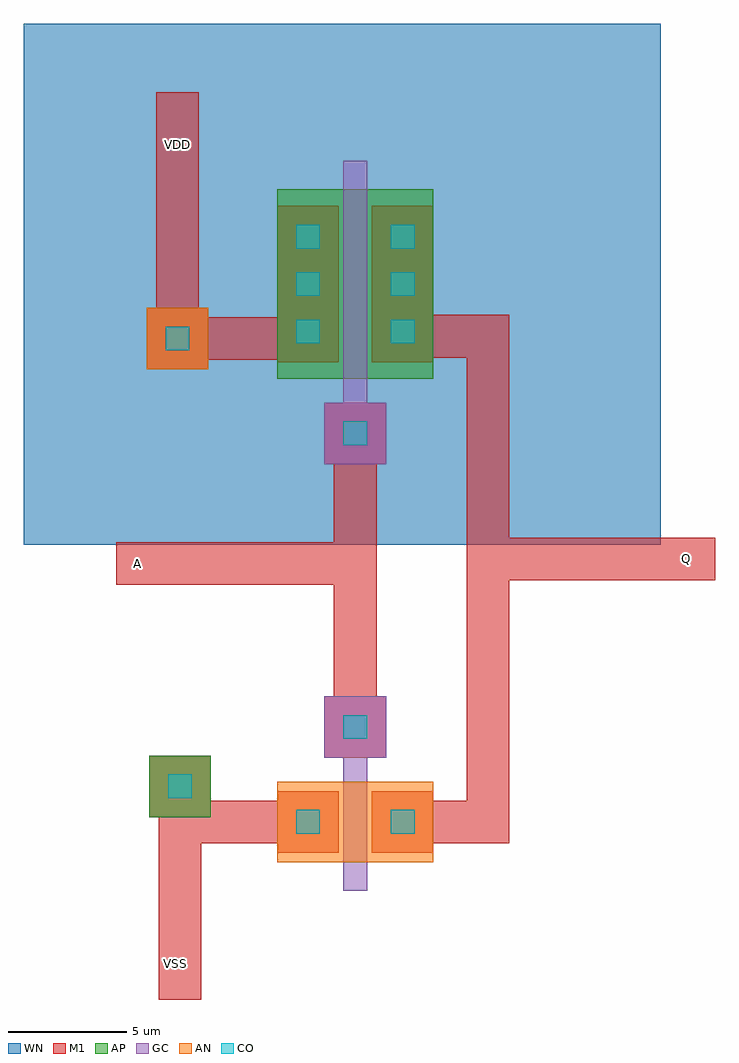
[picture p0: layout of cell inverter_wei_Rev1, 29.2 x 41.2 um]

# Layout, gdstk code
from math import pi, radians
import gdstk
lib = gdstk.Library(unit=1e-6, precision=1e-07)
def R(c, l, rs):  # rectangles x0, y0, x1, y1
    for r in rs: c.add(gdstk.rectangle(r[:2], r[2:], *l))
def A(c, l, x, y, w, h, nx, ny, dx, dy):  # array of equal rectangles
    R(c, l, [(x+i*dx, y+j*dy, x+i*dx+w, y+j*dy+h) for i in range(nx) for j in range(ny)])
AP = (3, 1)
AN = (3, 2)
GC = (8, 1)
CO = (11, 0)
M1 = (13, 0)
WN = (140, 0)

fet_p = lib.new_cell('fet_p')
R(fet_p, AP, [(-3.3,-4,3.3,4)])
A(fet_p, CO, -2.5, -2.5, 1, 1, 1, 3, 0, 2)
A(fet_p, CO, 1.5, -2.5, 1, 1, 1, 3, 0, 2)
R(fet_p, M1, [(-3.3,-3.3,-0.7,3.3), (0.7,-3.3,3.3,3.3)])
fet_p.add(gdstk.FlexPath([(0,-5.2),(0,5.2)], 1, ends="flush", simple_path=True, layer=8, datatype=1))  # GC

fet_n = lib.new_cell('fet_n')
R(fet_n, AN, [(-3.3,-1.7,3.3,1.7)])
R(fet_n, CO, [(-2.5,-0.5,-1.5,0.5), (1.5,-0.5,2.5,0.5)])
R(fet_n, M1, [(-3.3,-1.3,-0.7,1.3), (0.7,-1.3,3.3,1.3)])
fet_n.add(gdstk.FlexPath([(0,-2.9),(0,2.9)], 1, ends="flush", simple_path=True, layer=8, datatype=1))  # GC

cont_g = lib.new_cell('cont_g')
R(cont_g, GC, [(-1.3,-1.3,1.3,1.3)])
R(cont_g, CO, [(-0.5,-0.5,0.5,0.5)])
R(cont_g, M1, [(-1.3,-1.3,1.3,1.3)])

cont_n = lib.new_cell('cont_n')
R(cont_n, AN, [(-1.3,-1.3,1.3,1.3)])
R(cont_n, CO, [(-0.5,-0.5,0.5,0.5)])
R(cont_n, M1, [(-1.3,-1.3,1.3,1.3)])

cont_p = lib.new_cell('cont_p')
R(cont_p, AP, [(-1.3,-1.3,1.3,1.3)])
R(cont_p, CO, [(-0.5,-0.5,0.5,0.5)])
R(cont_p, M1, [(-1.3,-1.3,1.3,1.3)])

inverter_wei_rev1 = lib.new_cell('inverter_wei_Rev1')
R(inverter_wei_rev1, WN, [(-19,-2.8,7.9,19.2)])
inverter_wei_rev1.add(gdstk.FlexPath([(-3,-14.5),(0.6,-14.5),(0.6,6),(-3,6)], 1.8, ends="extended", simple_path=True, layer=13, datatype=0))  # M1
inverter_wei_rev1.add(gdstk.FlexPath([(-7,-14.5),(-12.4,-14.5),(-12.4,-21.1)], 1.8, ends="extended", simple_path=True, layer=13, datatype=0))  # M1
inverter_wei_rev1.add(gdstk.FlexPath([(0.6,-3.4),(9.3,-3.4)], 1.8, ends="extended", simple_path=True, layer=13, datatype=0))  # M1
inverter_wei_rev1.add(gdstk.FlexPath([(-5,2),(-5,-9)], 1.8, ends="extended", simple_path=True, layer=13, datatype=0))  # M1
inverter_wei_rev1.add(gdstk.FlexPath([(-7,5.9),(-12.5,5.9),(-12.5,15.4),(-12.5,15.4)], 1.8, ends="extended", simple_path=True, layer=13, datatype=0))  # M1
inverter_wei_rev1.add(gdstk.FlexPath([(-5,-3.6),(-14.2,-3.6)], 1.8, ends="extended", simple_path=True, layer=13, datatype=0))  # M1
inverter_wei_rev1.add(gdstk.Reference(fet_p, (-5,8.2)))
inverter_wei_rev1.add(gdstk.Reference(fet_n, (-5,-14.5)))
inverter_wei_rev1.add(gdstk.Reference(cont_g, (-5,-10.5), rotation=pi))
inverter_wei_rev1.add(gdstk.Reference(cont_g, (-5,1.9), rotation=pi))
inverter_wei_rev1.add(gdstk.Reference(cont_n, (-12.5,5.9), rotation=pi))
inverter_wei_rev1.add(gdstk.Reference(cont_p, (-12.4,-13), rotation=pi))
inverter_wei_rev1.add(gdstk.Label('Q', (9,-3.4), layer=48, texttype=0))
inverter_wei_rev1.add(gdstk.Label('VSS', (-12.6,-20.5), layer=48, texttype=0))
inverter_wei_rev1.add(gdstk.Label('A', (-14.2,-3.6), layer=48, texttype=0))
inverter_wei_rev1.add(gdstk.Label('VDD', (-12.5,14.1), layer=48, texttype=0))

lib.write_gds('inverter_wei_Rev1.gds')
